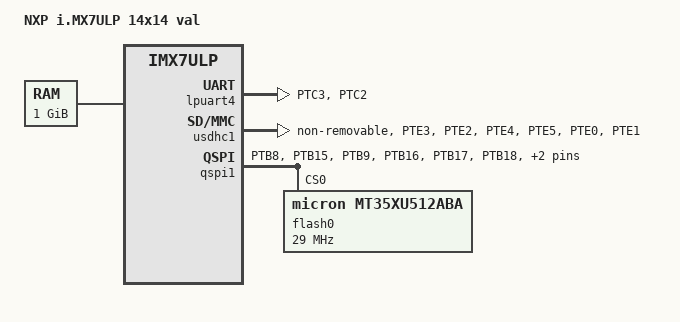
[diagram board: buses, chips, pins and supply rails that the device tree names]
/*
 * Copyright 2016 Freescale Semiconductor, Inc.
 *
 * This program is free software; you can redistribute it and/or modify
 * it under the terms of the GNU General Public License version 2 as
 * published by the Free Software Foundation.
 */

/dts-v1/;

#include "imx7ulp.dtsi"

/ {
	model = "NXP i.MX7ULP 14x14 val";
	compatible = "fsl,imx7ulp-14x14-val", "fsl,imx7ulp", "Generic DT based system";

	chosen {
		bootargs = "console=ttyLP0,115200 earlycon=lpuart32,0x402D0000,115200";
		stdout-path = &lpuart4;
	};

	memory {
		device_type = "memory";
		reg = <0x60000000 0x40000000>;
	};
};

&iomuxc1 {
	pinctrl-names = "default";
	pinctrl-0 = <&pinctrl_hog_1>;

	imx7ulp-14x14-val {
		pinctrl_hog_1: hoggrp-1 {
			fsl,pins = <
				IMX7ULP_PAD_PTC10__PTC10	0x30100
				IMX7ULP_PAD_PTC1__PTC1		0x20100
			>;
		};

		pinctrl_lpuart4: lpuart4grp {
			fsl,pins = <
				IMX7ULP_PAD_PTC3__LPUART4_RX	0x400
				IMX7ULP_PAD_PTC2__LPUART4_TX	0x400
			>;
		};

		pinctrl_usdhc1: usdhc1grp {
			fsl,pins = <
				IMX7ULP_PAD_PTE3__SDHC1_CMD	0x843
				IMX7ULP_PAD_PTE2__SDHC1_CLK	0x843
				IMX7ULP_PAD_PTE4__SDHC1_D3	0x843
				IMX7ULP_PAD_PTE5__SDHC1_D2	0x843
				IMX7ULP_PAD_PTE0__SDHC1_D1	0x843
				IMX7ULP_PAD_PTE1__SDHC1_D0	0x843
			>;
		};
		pinctrl_qspi1_1: qspi1grp_1 {
			fsl,pins = <
				IMX7ULP_PAD_PTB8__QSPIA_SS0_B   0x43 /* SS0 */
				IMX7ULP_PAD_PTB15__QSPIA_SCLK   0x43 /* SCLK */
				IMX7ULP_PAD_PTB9__QSPIA_DQS     0x43 /* DQS */
				IMX7ULP_PAD_PTB16__QSPIA_DATA3  0x43 /* D3 */
				IMX7ULP_PAD_PTB17__QSPIA_DATA2  0x43 /* D2 */
				IMX7ULP_PAD_PTB18__QSPIA_DATA1  0x43 /* D1 */
				IMX7ULP_PAD_PTB19__QSPIA_DATA0  0x43 /* D0 */
				IMX7ULP_PAD_PTB12__PTB12 0x20003
			>;
		};
	};
};

&lpuart4 { /* console */
	pinctrl-names = "default";
	pinctrl-0 = <&pinctrl_lpuart4>;
	status = "okay";
};

&usdhc1 {
	pinctrl-names = "default", "sleep";
	pinctrl-0 = <&pinctrl_usdhc1>;
	pinctrl-1 = <&pinctrl_usdhc1>;
	non-removable;
	status = "okay";
};

&qspi1 {
	pinctrl-names = "default";
	pinctrl-0 = <&pinctrl_qspi1_1>;
	status = "okay";

	flash0: mt35xu512aba@0 {
		reg = <0>;
		#address-cells = <1>;
		#size-cells = <1>;
		compatible = "micron,mt35xu512aba", "jedec,spi-nor";
		spi-max-frequency = <29000000>;
	};
};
